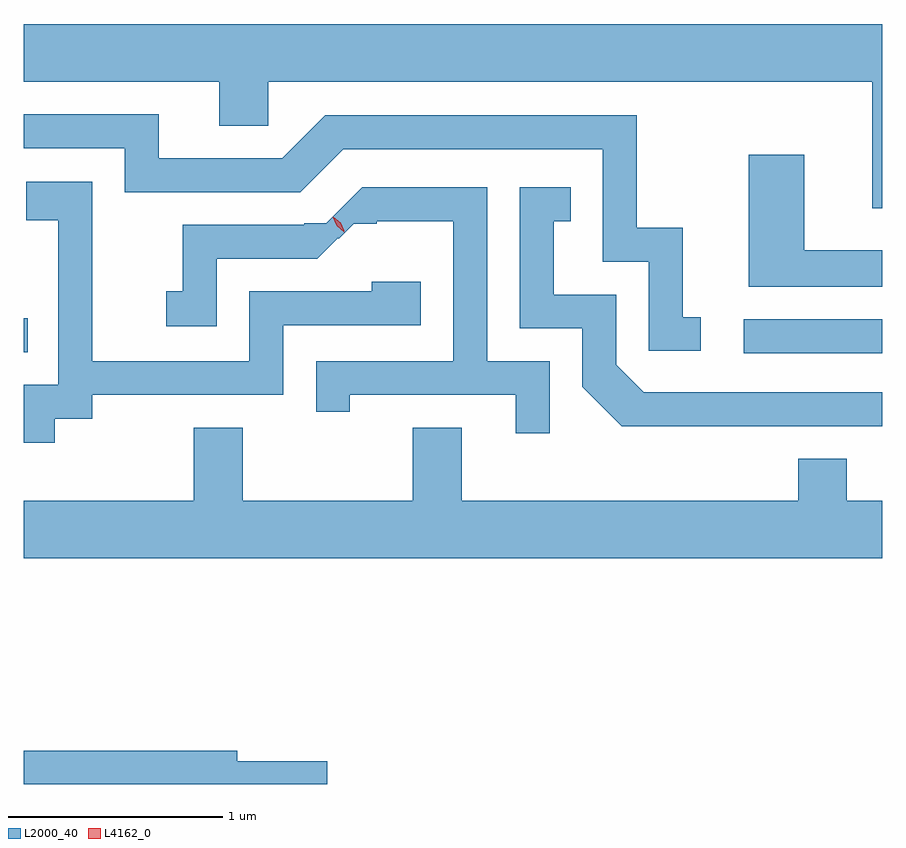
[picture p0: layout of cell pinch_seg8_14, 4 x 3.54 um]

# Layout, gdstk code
import gdstk
lib = gdstk.Library(unit=1e-6, precision=1e-09)
def R(c, l, rs):  # rectangles x0, y0, x1, y1
    for r in rs: c.add(gdstk.rectangle(r[:2], r[2:], *l))
def P(c, l, *ps):  # polygons
    for p in ps: c.add(gdstk.Polygon(p, *l))
L2000_40 = (2000, 40)
L4162_0 = (4162, 0)

pinch_seg8_14 = lib.new_cell('pinch_seg8_14')
R(pinch_seg8_14, L2000_40, [(1071.423,1888.431,1072.069,1888.589), (1068.069,1888.436,1068.088,1888.594)])
P(pinch_seg8_14, L2000_40, [(1072.069,1889.964),(1068.069,1889.964),(1068.069,1889.696),(1068.981,1889.696),(1068.981,1889.491),(1069.209,1889.491),(1069.209,1889.696),(1072.021,1889.696),(1072.021,1889.106),(1072.069,1889.106)],
  [(1071.223,1888.599),(1071.139,1888.599),(1071.139,1889.014),(1070.924,1889.014),(1070.924,1889.539),(1069.474,1889.539),(1069.274,1889.339),(1068.699,1889.339),(1068.699,1889.544),(1068.069,1889.544),(1068.069,1889.386),(1068.541,1889.386),(1068.541,1889.181),(1069.357,1889.181),(1069.557,1889.381),(1070.766,1889.381),(1070.766,1888.856),(1070.981,1888.856),(1070.981,1888.441),(1071.223,1888.441)],
  [(1072.069,1888.909),(1071.704,1888.909),(1071.704,1889.354),(1071.446,1889.354),(1071.446,1888.741),(1072.069,1888.741)],
  [(1068.214,1888.126),(1068.389,1888.126),(1068.389,1888.236),(1069.279,1888.236),(1069.279,1888.561),(1069.919,1888.561),(1069.919,1888.764),(1069.691,1888.764),(1069.691,1888.719),(1069.121,1888.719),(1069.121,1888.394),(1068.389,1888.394),(1068.389,1889.229),(1068.081,1889.229),(1068.081,1889.051),(1068.231,1889.051),(1068.231,1888.284),(1068.069,1888.284),(1068.069,1888.013),(1068.214,1888.013)],
  [(1072.069,1888.249),(1070.957,1888.249),(1070.829,1888.377),(1070.829,1888.704),(1070.539,1888.704),(1070.539,1889.046),(1070.618,1889.046),(1070.618,1889.204),(1070.381,1889.204),(1070.381,1888.546),(1070.671,1888.546),(1070.671,1888.274),(1070.854,1888.091),(1072.069,1888.091)],
  [(1070.519,1888.394),(1070.229,1888.394),(1070.229,1889.204),(1069.647,1889.204),(1069.479,1889.036),(1069.375,1889.036),(1069.375,1889.029),(1068.811,1889.029),(1068.811,1888.719),(1068.733,1888.719),(1068.733,1888.556),(1068.969,1888.556),(1068.969,1888.871),(1069.437,1888.871),(1069.533,1888.967),(1069.536,1888.964),(1069.607,1889.034),(1069.714,1889.034),(1069.714,1889.046),(1070.071,1889.046),(1070.071,1888.394),(1069.431,1888.394),(1069.431,1888.158),(1069.589,1888.158),(1069.589,1888.236),(1070.361,1888.236),(1070.361,1888.058),(1070.519,1888.058)],
  [(1072.069,1887.744),(1071.904,1887.744),(1071.904,1887.939),(1071.676,1887.939),(1071.676,1887.744),(1070.109,1887.744),(1070.109,1888.084),(1069.881,1888.084),(1069.881,1887.744),(1069.089,1887.744),(1069.089,1888.084),(1068.861,1888.084),(1068.861,1887.744),(1068.069,1887.744),(1068.069,1887.476),(1072.069,1887.476)],
  [(1069.484,1886.529),(1069.064,1886.529),(1069.064,1886.579),(1068.069,1886.579),(1068.069,1886.424),(1069.484,1886.424)])
P(pinch_seg8_14, L4162_0, [(1069.562,1888.994),(1069.527,1889.024),(1069.508,1889.066),(1069.508,1889.067),(1069.509,1889.067),(1069.543,1889.036),(1069.562,1888.994),(1069.562,1888.994)],
  [(1069.562,1889.001),(1069.53,1889.026),(1069.513,1889.062),(1069.513,1889.063),(1069.514,1889.063),(1069.545,1889.038),(1069.563,1889.002),(1069.563,1889.001)])

lib.write_gds('pinch_seg8_14.gds')
